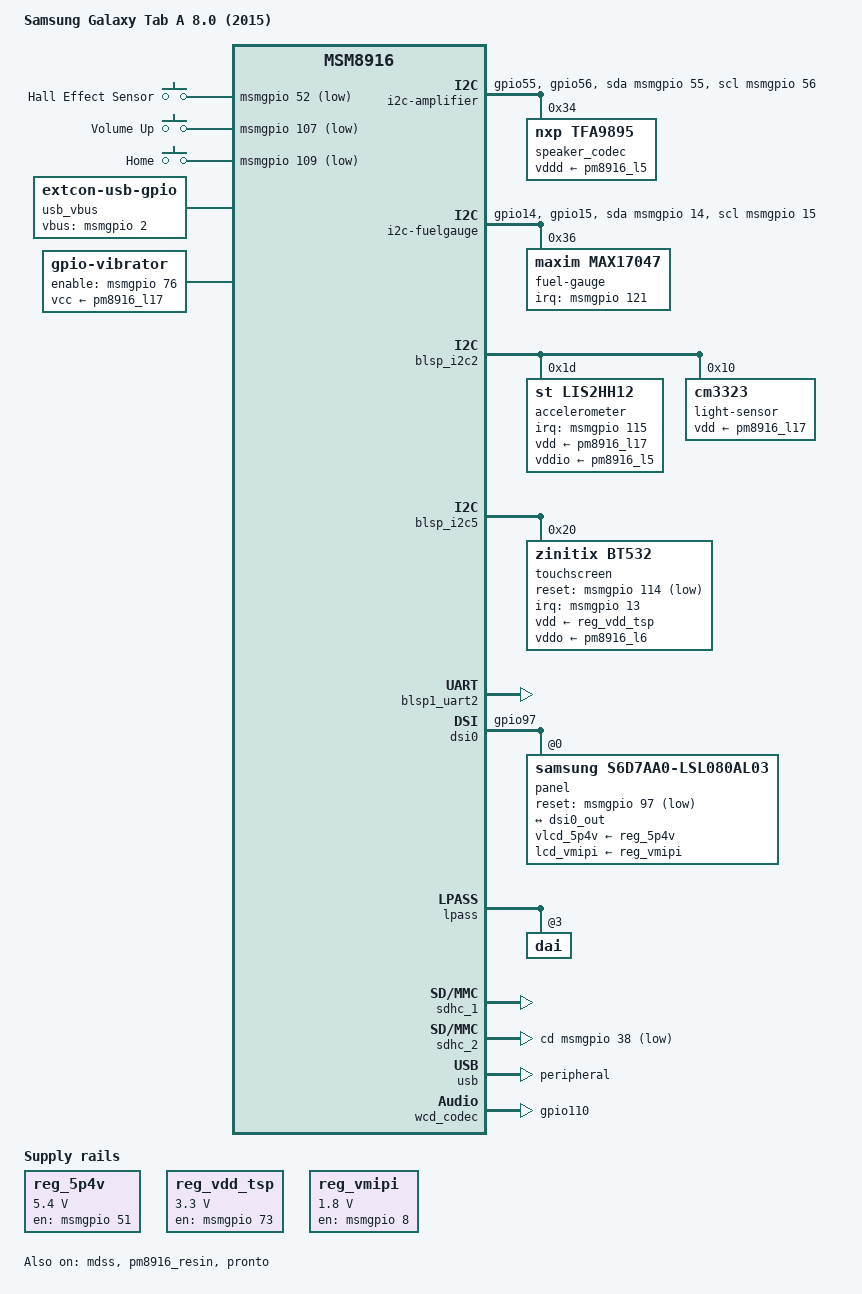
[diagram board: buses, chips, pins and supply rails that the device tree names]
// SPDX-License-Identifier: GPL-2.0-only

/dts-v1/;

#include "msm8916-pm8916.dtsi"
#include "msm8916-no-psci.dtsi"
#include <dt-bindings/gpio/gpio.h>
#include <dt-bindings/input/input.h>
#include <dt-bindings/interrupt-controller/irq.h>
#include <dt-bindings/sound/apq8016-lpass.h>

/ {
	model = "Samsung Galaxy Tab A 8.0 (2015)";
	compatible = "samsung,gt58lte", "qcom,msm8916";

	aliases {
		serial0 = &blsp1_uart2;
	};

	chosen {
		stdout-path = "serial0";
	};

	reserved-memory {
		/* Additional memory used by Samsung firmware modifications */
		tz-apps@85500000 {
			reg = <0x0 0x85500000 0x0 0xb00000>;
			no-map;
		};

		/delete-node/ wcnss@89300000;
		/delete-node/ venus@89900000;

		/* FIXME: Regions are for LTE variant. */
		mpss_mem: mpss@86800000 {
			status = "disabled";
			reg = <0x0 0x86800000 0x0 0x5400000>;
			no-map;
		};

		gps_mem: gps@8bc00000 {
			status = "disabled";
			reg = <0x0 0x8bc00000 0x0 0x200000>;
			no-map;
		};

		wcnss_mem: wcnss@8be00000 {
			reg = <0x0 0x8be00000 0x0 0x600000>;
			no-map;
		};

		venus_mem: venus@8c400000 {
			reg = <0x0 0x8c400000 0x0 0x600000>;
			no-map;
		};
	};

	gpio-hall-sensor {
		compatible = "gpio-keys";

		pinctrl-names = "default";
		pinctrl-0 = <&gpio_hall_sensor_default>;

		label = "GPIO Hall Effect Sensor";

		hall-sensor {
			label = "Hall Effect Sensor";
			gpios = <&msmgpio 52 GPIO_ACTIVE_LOW>;
			linux,input-type = <EV_SW>;
			linux,code = <SW_LID>;
			linux,can-disable;
		};
	};

	gpio-keys {
		compatible = "gpio-keys";

		pinctrl-names = "default";
		pinctrl-0 = <&gpio_keys_default>;

		label = "GPIO Buttons";

		volume-up {
			label = "Volume Up";
			gpios = <&msmgpio 107 GPIO_ACTIVE_LOW>;
			linux,code = <KEY_VOLUMEUP>;
		};

		home {
			label = "Home";
			gpios = <&msmgpio 109 GPIO_ACTIVE_LOW>;
			linux,code = <KEY_HOMEPAGE>;
		};
	};

	i2c-amplifier {
		compatible = "i2c-gpio";
		sda-gpios = <&msmgpio 55 (GPIO_ACTIVE_HIGH|GPIO_OPEN_DRAIN)>;
		scl-gpios = <&msmgpio 56 (GPIO_ACTIVE_HIGH|GPIO_OPEN_DRAIN)>;

		pinctrl-names = "default";
		pinctrl-0 = <&amp_i2c_default>;

		#address-cells = <1>;
		#size-cells = <0>;

		speaker_codec: audio-codec@34 {
			compatible = "nxp,tfa9895";
			reg = <0x34>;
			vddd-supply = <&pm8916_l5>;
			sound-name-prefix = "Speaker";
			#sound-dai-cells = <0>;
		};
	};

	i2c-fuelgauge {
		compatible = "i2c-gpio";
		sda-gpios = <&msmgpio 14 (GPIO_ACTIVE_HIGH|GPIO_OPEN_DRAIN)>;
		scl-gpios = <&msmgpio 15 (GPIO_ACTIVE_HIGH|GPIO_OPEN_DRAIN)>;

		pinctrl-names = "default";
		pinctrl-0 = <&fuelgauge_i2c_default>;

		#address-cells = <1>;
		#size-cells = <0>;

		fuel-gauge@36 {
			// HACK: It's MAX77849 MFD. fg seems compatible
			compatible = "maxim,max17047";
			reg = <0x36>;

			maxim,rsns-microohm = <10000>;
			maxim,over-heat-temp = <600>;
			maxim,over-volt = <4400>;

			interrupt-parent = <&msmgpio>;
			interrupts = <121 IRQ_TYPE_EDGE_FALLING>;

			pinctrl-names = "default";
			pinctrl-0 = <&fg_int_default>;
		};
	};

	reg_5p4v: regulator-5p4v {
		compatible = "regulator-fixed";
		regulator-name = "vlcd_5p4v";
		regulator-min-microvolt = <5400000>;
		regulator-max-microvolt = <5400000>;

		gpio = <&msmgpio 51 0>;
		enable-active-high;

		pinctrl-names = "default";
		pinctrl-0 = <&buckbooster_en_default>;
	};

	reg_vdd_tsp: regulator-vdd-tsp {
		compatible = "regulator-fixed";
		regulator-name = "vdd_tsp";
		regulator-min-microvolt = <3300000>;
		regulator-max-microvolt = <3300000>;

		gpio = <&msmgpio 73 GPIO_ACTIVE_HIGH>;
		enable-active-high;

		pinctrl-names = "default";
		pinctrl-0 = <&tsp_en_default>;
	};

	reg_vmipi: regulator-vmipi {
		compatible = "regulator-fixed";
		regulator-name = "lcd_vmipi";
		regulator-min-microvolt = <1800000>;
		regulator-max-microvolt = <1800000>;

		gpio = <&msmgpio 8 0>;
		enable-active-high;

		pinctrl-names = "default";
		pinctrl-0 = <&lcd_en_default>;
	};

	// FIXME: Use extcon device provided by MUIC driver when available
	usb_vbus: usb-vbus {
		compatible = "linux,extcon-usb-gpio";
		vbus-gpio = <&msmgpio 2 GPIO_ACTIVE_HIGH>;
	};

	vibrator {
		compatible = "gpio-vibrator";
		enable-gpios = <&msmgpio 76 GPIO_ACTIVE_HIGH>;
		vcc-supply = <&pm8916_l17>;
	};
};

&blsp_i2c2 {
	status = "okay";

	accelerometer@1d {
		compatible = "st,lis2hh12";

		vdd-supply = <&pm8916_l17>;
		vddio-supply = <&pm8916_l5>;

		reg = <0x1d>;
		interrupt-parent = <&msmgpio>;
		interrupts = <115 IRQ_TYPE_EDGE_RISING>;
		interrupt-names = "INT1";

		st,drdy-int-pin = <1>;

		pinctrl-names = "default";
		pinctrl-0 = <&accel_int_default>;
		mount-matrix = "0", "1", "0",
				"-1", "0", "0",
				"0", "0", "1";
	};

	light-sensor@10 {
		compatible = "cm3323";
		reg = <0x10>;

		vdd-supply = <&pm8916_l17>;
	};
};

&blsp_i2c5 {
	status = "okay";

	/*
	 * Actual IC is Zinitix bt532.
	 * It seems compatible enough with bt541 for basic functionality.
	 */

	touchscreen@20 {
		compatible = "zinitix,bt532", "zinitix,bt541";
		reg = <0x20>;
		interrupt-parent = <&msmgpio>;
		interrupts = <13 IRQ_TYPE_EDGE_FALLING>;

		touchscreen-size-x = <768>;
		touchscreen-size-y = <1024>;

		zinitix,mode = <2>;

		vdd-supply = <&reg_vdd_tsp>;
		vddo-supply = <&pm8916_l6>;

		reset-gpios = <&msmgpio 114 GPIO_ACTIVE_LOW>;

		pinctrl-names = "default";
		pinctrl-0 = <&tsp_int_default>;
	};
};

&blsp1_uart2 {
	status = "okay";
};

&dsi0 {
	pinctrl-names = "default", "sleep";
	pinctrl-0 = <&mdss_default>;
	pinctrl-1 = <&mdss_sleep>;

	panel@0 {
		compatible = "samsung,s6d7aa0-lsl080al03";
		reg = <0>;

		vlcd_5p4v-supply = <&reg_5p4v>;
		lcd_vmipi-supply = <&reg_vmipi>;
		reset-gpios = <&msmgpio 97 GPIO_ACTIVE_LOW>;

		port {
			panel_in: endpoint {
				remote-endpoint = <&dsi0_out>;
			};
		};
	};
};

&dsi0_out {
	data-lanes = <0 1 2 3>;
	remote-endpoint = <&panel_in>;
};

&lpass {
	status = "okay";

	dai@3 {
		reg = <MI2S_QUATERNARY>;
		qcom,playback-sd-lines = <1>;
	};
};

&mdss {
	status = "okay";
};

&pm8916_resin {
	status = "okay";
	linux,code = <KEY_VOLUMEDOWN>;
};

&pronto {
	status = "okay";

	iris {
		compatible = "qcom,wcn3660b";
	};
};

&sdhc_1 {
	status = "okay";

	pinctrl-names = "default", "sleep";
	pinctrl-0 = <&sdc1_clk_on &sdc1_cmd_on &sdc1_data_on>;
	pinctrl-1 = <&sdc1_clk_off &sdc1_cmd_off &sdc1_data_off>;
};

&sdhc_2 {
	status = "okay";

	pinctrl-names = "default", "sleep";
	pinctrl-0 = <&sdc2_clk_on &sdc2_cmd_on &sdc2_data_on &sdc2_cd_on>;
	pinctrl-1 = <&sdc2_clk_off &sdc2_cmd_off &sdc2_data_off &sdc2_cd_off>;

	cd-gpios = <&msmgpio 38 GPIO_ACTIVE_LOW>;
};

&sound {
	status = "okay";

	pinctrl-names = "default", "sleep";
	pinctrl-0 = <&cdc_pdm_lines_act &ext_sec_tlmm_lines_act &secondary_mic>;
	pinctrl-1 = <&cdc_pdm_lines_sus &ext_sec_tlmm_lines_sus &secondary_mic>;

	model = "samsung-a2015";
	audio-routing =
		"AMIC1", "MIC BIAS External1",
		"AMIC2", "MIC BIAS Internal2",
		"AMIC3", "MIC BIAS External1";

	dai-link-primary {
		link-name = "Primary MI2S";
		cpu {
			sound-dai = <&lpass MI2S_PRIMARY>;
		};
		codec {
			sound-dai = <&lpass_codec 0>, <&wcd_codec 0>;
		};
	};

	dai-link-tertiary {
		link-name = "Tertiary MI2S";
		cpu {
			sound-dai = <&lpass MI2S_TERTIARY>;
		};
		codec {
			sound-dai = <&lpass_codec 1>, <&wcd_codec 1>;
		};
	};

	dai-link-quaternary {
		link-name = "Quaternary MI2S";
		cpu {
			sound-dai = <&lpass MI2S_QUATERNARY>;
		};
		codec {
			sound-dai = <&speaker_codec>;
		};
	};
};

&usb {
	status = "okay";
	dr_mode = "peripheral";
	extcon = <&usb_vbus>;
};

&usb_hs_phy {
	extcon = <&usb_vbus>;
};

&wcd_codec {
	jack-gpios = <&msmgpio 110 GPIO_ACTIVE_LOW>;
	qcom,micbias-lvl = <2800>;
	qcom,mbhc-vthreshold-low = <75 150 237 450 500>;
	qcom,mbhc-vthreshold-high = <75 150 237 450 500>;

	pinctrl-names = "default";
	pinctrl-0 = <&jack_default>;
};

&smd_rpm_regulators {
	vdd_l1_l2_l3-supply = <&pm8916_s3>;
	vdd_l4_l5_l6-supply = <&pm8916_s4>;
	vdd_l7-supply = <&pm8916_s4>;

	s1 {
		regulator-min-microvolt = <500000>;
		regulator-max-microvolt = <1300000>;
	};

	s3 {
		regulator-min-microvolt = <1200000>;
		regulator-max-microvolt = <1300000>;
	};

	s4 {
		regulator-min-microvolt = <1800000>;
		regulator-max-microvolt = <2100000>;
	};

	l1 {
		regulator-min-microvolt = <1225000>;
		regulator-max-microvolt = <1225000>;
	};

	l2 {
		regulator-min-microvolt = <1200000>;
		regulator-max-microvolt = <1200000>;
	};

	l3 {
		regulator-min-microvolt = <500000>;
		regulator-max-microvolt = <1287500>;
	};

	l4 {
		regulator-min-microvolt = <2050000>;
		regulator-max-microvolt = <2050000>;
	};

	l5 {
		regulator-min-microvolt = <1800000>;
		regulator-max-microvolt = <1850000>;
	};

	l6 {
		regulator-min-microvolt = <1800000>;
		regulator-max-microvolt = <1800000>;
	};

	l7 {
		regulator-min-microvolt = <1800000>;
		regulator-max-microvolt = <1800000>;
	};

	l8 {
		regulator-min-microvolt = <2850000>;
		regulator-max-microvolt = <2900000>;
	};

	l9 {
		regulator-min-microvolt = <3300000>;
		regulator-max-microvolt = <3300000>;
	};

	l10 {
		regulator-min-microvolt = <2700000>;
		regulator-max-microvolt = <2800000>;
	};

	l11 {
		regulator-min-microvolt = <1800000>;
		regulator-max-microvolt = <2950000>;
		regulator-allow-set-load;
		regulator-system-load = <200000>;
	};

	l12 {
		regulator-min-microvolt = <1800000>;
		regulator-max-microvolt = <2950000>;
	};

	l13 {
		regulator-min-microvolt = <3075000>;
		regulator-max-microvolt = <3075000>;
	};

	l14 {
		regulator-min-microvolt = <1800000>;
		regulator-max-microvolt = <3300000>;
	};

	l15 {
		regulator-min-microvolt = <1800000>;
		regulator-max-microvolt = <3300000>;
	};

	l16 {
		regulator-min-microvolt = <1800000>;
		regulator-max-microvolt = <3300000>;
	};

	l17 {
		regulator-min-microvolt = <2850000>;
		regulator-max-microvolt = <3100000>;
	};

	l18 {
		regulator-min-microvolt = <2700000>;
		regulator-max-microvolt = <2700000>;
	};
};

&msmgpio {
	accel_int_default: accel-int-default {
		pins = "gpio115";
		function = "gpio";

		drive-strength = <2>;
		bias-disable;
	};

	amp_i2c_default: amp-i2c-default {
		pins = "gpio55", "gpio56";
		function = "gpio";

		drive-strength = <2>;
		bias-disable;
	};

	fg_int_default: fg-int-default {
		pins = "gpio121";
		function = "gpio";

		drive-strength = <2>;
		bias-disable;
	};

	fuelgauge_i2c_default: fuelgauge-i2c-default {
		pins = "gpio14", "gpio15";
		function = "gpio";

		drive-strength = <2>;
		bias-disable;
	};

	buckbooster_en_default: buckbooster-en-default {
		pins = "gpio51";
		function = "gpio";

		drive-strength = <2>;
		bias-disable;
	};

	gpio_keys_default: gpio-keys-default {
		pins = "gpio107", "gpio109";
		function = "gpio";

		drive-strength = <2>;
		bias-pull-up;
	};

	gpio_hall_sensor_default: gpio-hall-sensor-default {
		pins = "gpio52";
		function = "gpio";

		drive-strength = <2>;
		bias-disable;
	};

	jack_default: jack_default {
		pins = "gpio110";
		function = "gpio";

		drive-strength = <2>;
		bias-disable;
	};

	lcd_en_default: lcd-en-default {
		pins = "gpio8";
		function = "gpio";

		drive-strength = <2>;
		bias-disable;
	};

	mdss {
		mdss_default: mdss-default {
			pins = "gpio97";
			function = "gpio";

			drive-strength = <8>;
			bias-disable;
		};

		mdss_sleep: mdss-sleep {
			pins = "gpio97";
			function = "gpio";

			drive-strength = <2>;
			bias-pull-down;
		};
	};

	vibrator_en_default: vibrator-en-default {
		pins = "gpio76";
		function = "gpio";

		drive-strength = <2>;
		bias-disable;
	};

	secondary_mic: secondary-mic {
		pins = "gpio98";
		function = "gpio";

		drive-strength = <2>;
		bias-disable;
		output-high;
	};

	tsp_en_default: tsp-en-default {
		pins = "gpio73";
		function = "gpio";

		drive-strength = <2>;
		bias-disable;
	};

	tsp_int_default: tsp-int-default {
		pins = "gpio13";
		function = "gpio";

		drive-strength = <2>;
		bias-disable;
	};

	tsp_rst_default: tsp-rst-default {
		pins = "gpio114";
		function = "gpio";

		drive-strength = <2>;
		bias-disable;
	};
};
